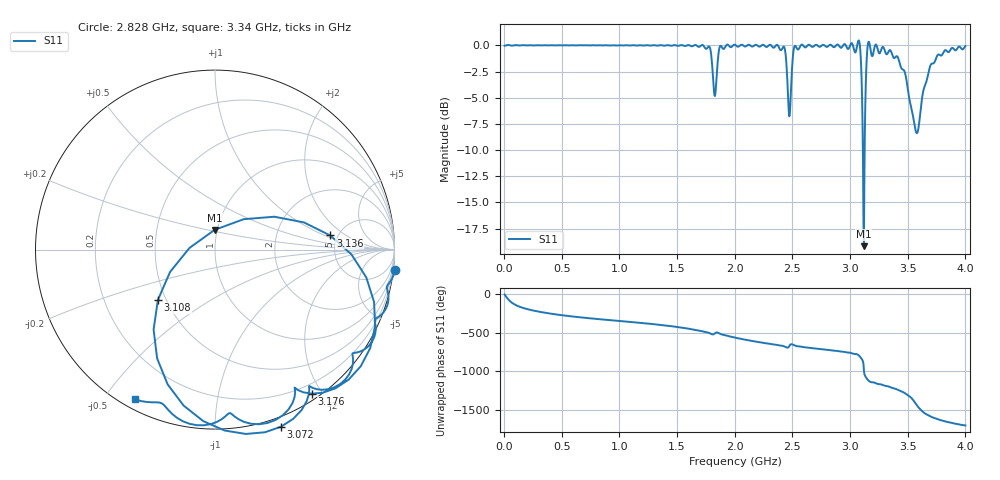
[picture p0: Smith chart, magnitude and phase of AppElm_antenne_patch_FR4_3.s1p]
! TOUCHSTONE file generated by CST MICROWAVE STUDIO
! Date and time: Tue Jun  7 20:03:42 2022
! Project name: AppElm_antenne_patch_FR4.cst
! Parameters = {L=38.25; W=58.5; e=0.035; h=1.6; lambda=0.190476; ls=120; w0=1.6; w1=0.533333; ws=120; y0=20; y1=23.8095}
! Header version: 2018
! Port assignment regex: !\s*Touchstone port\s*([0-9]+)\s*=\s*(CST MWS port|CST DS port)\s*([0-9]+|Zmin|Zmax)\s*\(\"(.*)\"\)(\s*mode\s*([0-9]+))?.*
! Touchstone port assignment:
! Touchstone port 1 = CST MWS port 1 ("")
# GHz S MA R 50
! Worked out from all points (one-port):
!   1000 points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, 4 MHz to 4 GHz, reference 50 ohm
!   lowest |S11| = -19.2 dB at 3.12 GHz (marker M1), VSWR 1.25, Z = 48.6 + j10.8 ohm
!   |S11| at or under -10 dB: 3.111 GHz to 3.127 GHz (15.7 MHz wide, 0.503 % of centre)
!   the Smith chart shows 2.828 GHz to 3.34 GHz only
!   S11 on the Smith chart (normalised r, x): 2.828 GHz: -1, -18; 3.072 GHz: -0.08, -1.44; 3.108 GHz: 0.45, -0.31; 3.136 GHz: 4.33, +1.17; 3.176 GHz: 0.08, -1.87; 3.34 GHz: 0.04, -0.60
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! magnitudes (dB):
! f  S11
! 4 MHz  0.0
! 504 MHz  0.0
! 1.004 GHz  0.0
! 1.504 GHz  0.0
! 1.772 GHz  -0.1
! 1.828 GHz  -4.8
! 1.876 GHz  0.0
! 2.004 GHz  0.0
! 2.42 GHz  -0.2
! 2.472 GHz  -6.8
! 2.504 GHz  -1.1
! 2.532 GHz  -0.2
! 2.828 GHz  0.1
! 3.004 GHz  0.1
! 3.072 GHz  0.4
! 3.088 GHz  -0.4
! 3.108 GHz  -7.4
! 3.12 GHz  -19.2
! 3.136 GHz  -3.8
! 3.152 GHz  -0.1
! 3.176 GHz  -0.3
! 3.34 GHz  -0.5
! 3.42 GHz  -1.3
! 3.504 GHz  -4.4
! 3.58 GHz  -8.4
! 3.64 GHz  -4.1
! 3.704 GHz  -1.8
! 4 GHz  -0.1
